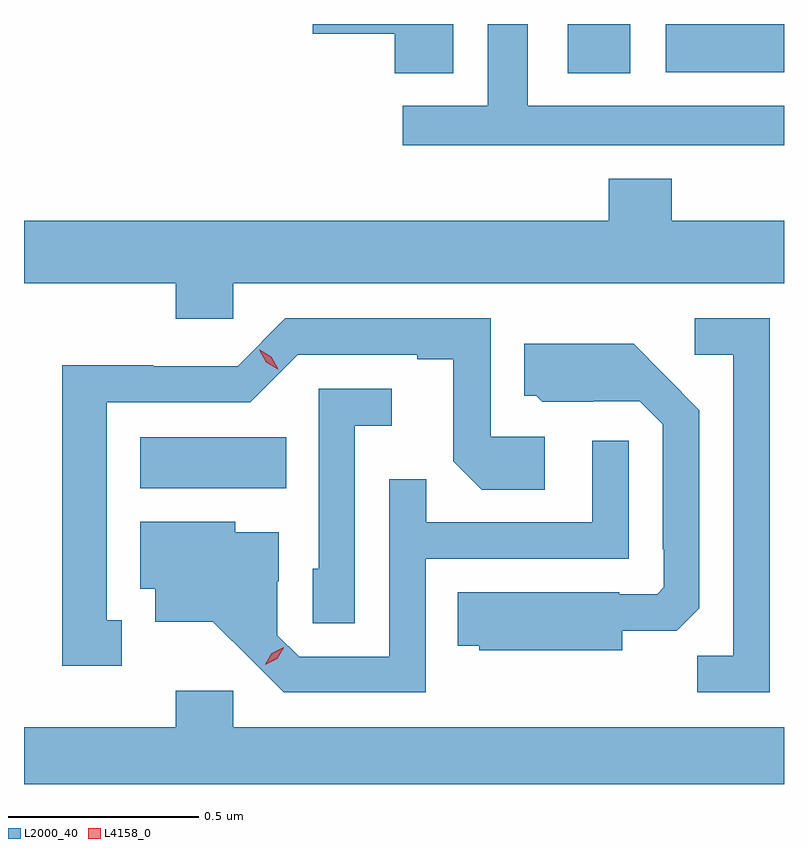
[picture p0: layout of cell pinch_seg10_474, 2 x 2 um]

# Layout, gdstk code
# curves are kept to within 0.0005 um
import gdstk
lib = gdstk.Library(unit=1e-6, precision=1e-09)
def R(c, l, rs):  # rectangles x0, y0, x1, y1
    for r in rs: c.add(gdstk.rectangle(r[:2], r[2:], *l))
def P(c, l, *ps):  # polygons
    for p in ps: c.add(gdstk.Polygon(p, *l))
L2000_40 = (2000, 40)
L4158_0 = (4158, 0)

pinch_seg10_474 = lib.new_cell('pinch_seg10_474')
R(pinch_seg10_474, L2000_40, [(352.712,1293.116,353.096,1293.25), (353.837,1294.208,354.001,1294.338), (354.095,1294.211,354.406,1294.338)])
P(pinch_seg10_474, L2000_40, [(354.406,1294.123),(353.731,1294.123),(353.731,1294.338),(353.627,1294.338),(353.627,1294.123),(353.403,1294.123),(353.403,1294.019),(354.406,1294.019)],
  [(353.536,1294.338),(353.166,1294.338),(353.166,1294.313),(353.381,1294.313),(353.381,1294.208),(353.536,1294.208)],
  [(352.956,1293.656),(354.406,1293.656),(354.406,1293.82),(354.11,1293.82),(354.11,1293.931),(353.945,1293.931),(353.945,1293.82),(352.406,1293.82),(352.406,1293.656),(352.805,1293.656),(352.805,1293.563),(352.956,1293.563)],
  [(354.369,1293.564),(354.171,1293.564),(354.171,1293.468),(354.273,1293.468),(354.273,1292.675),(354.178,1292.675),(354.178,1292.58),(354.369,1292.58)],
  [(352.663,1292.769),(352.624,1292.769),(352.624,1293.342),(353.001,1293.342),(353.127,1293.468),(353.441,1293.468),(353.441,1293.456),(353.535,1293.456),(353.535,1293.188),(353.611,1293.112),(353.776,1293.112),(353.776,1293.252),(353.634,1293.252),(353.634,1293.564),(353.094,1293.564),(352.968,1293.438),(352.746,1293.438),(352.746,1293.44),(352.506,1293.44),(352.506,1292.649),(352.663,1292.649)],
  [(353.98,1292.741),(354.124,1292.741),(354.183,1292.8),(354.183,1293.322),(354.011,1293.496),(353.723,1293.496),(353.723,1293.36),(353.754,1293.36),(353.77,1293.344),(353.904,1293.344),(353.904,1293.345),(354.027,1293.345),(354.087,1293.285),(354.087,1292.956),(354.09,1292.956),(354.09,1292.856),(354.072,1292.838),(353.972,1292.838),(353.972,1292.842),(353.548,1292.842),(353.548,1292.702),(353.604,1292.702),(353.604,1292.69),(353.98,1292.69)],
  [(353.277,1293.281),(353.374,1293.281),(353.374,1293.378),(353.181,1293.378),(353.181,1292.904),(353.166,1292.904),(353.166,1292.761),(353.277,1292.761)],
  [(353.463,1292.931),(353.997,1292.931),(353.997,1293.241),(353.901,1293.241),(353.901,1293.027),(353.465,1293.027),(353.465,1293.14),(353.367,1293.14),(353.367,1292.673),(353.13,1292.673),(353.073,1292.73),(353.073,1292.872),(353.077,1292.872),(353.077,1293.001),(352.962,1293.001),(352.962,1293.028),(352.712,1293.028),(352.712,1292.852),(352.751,1292.852),(352.751,1292.765),(352.903,1292.765),(353.09,1292.58),(353.463,1292.58)],
  [(354.406,1292.488),(352.956,1292.488),(352.956,1292.584),(352.805,1292.584),(352.805,1292.488),(352.406,1292.488),(352.406,1292.338),(354.406,1292.338)])
P(pinch_seg10_474, L4158_0, [(353.041,1292.652),(353.041,1292.653),(353.058,1292.682),(353.089,1292.698),(353.089,1292.698),(353.089,1292.697),(353.072,1292.668),(353.041,1292.652)],
  [(353.074,1293.429),(353.043,1293.448),(353.025,1293.481),(353.025,1293.481),(353.026,1293.481),(353.057,1293.462),(353.075,1293.429),(353.075,1293.429)])

lib.write_gds('pinch_seg10_474.gds')
